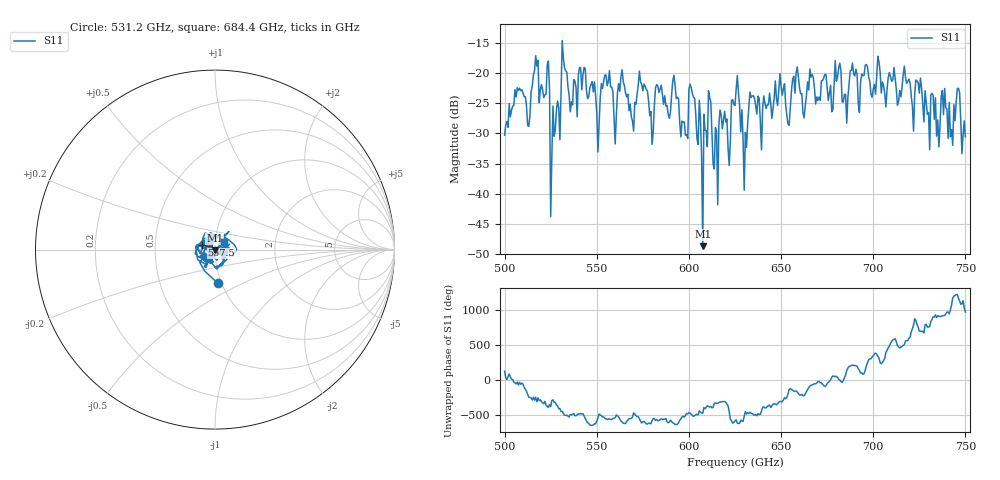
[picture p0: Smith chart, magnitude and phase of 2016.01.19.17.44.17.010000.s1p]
!Created with skrf (http://scikit-rf.org).
# GHz S RI R 50.0
!freq ReS11 ImS11
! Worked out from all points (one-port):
!   401 points, 500 GHz to 750 GHz, reference 50 ohm
!   lowest |S11| = -48.7 dB at 607.5 GHz (marker M1), VSWR 1.01, Z = 49.9 - j0.337 ohm
!   |S11| at or under -10 dB: start of sweep to end of sweep
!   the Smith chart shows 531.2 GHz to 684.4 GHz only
!   S11 on the Smith chart (normalised r, x): 531.2 GHz: 0.96, -0.37; 557.5 GHz: 0.86, +0.05; 684.4 GHz: 1.11, +0.09
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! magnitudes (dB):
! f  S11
! 500 GHz  -30.3
! 506.9 GHz  -22.4
! 513.1 GHz  -28.8
! 516.9 GHz  -17.1
! 523.1 GHz  -18.6
! 526.2 GHz  -25.5
! 531.2 GHz  -14.6
! 550.6 GHz  -33.1
! 557.5 GHz  -22.3
! 562.5 GHz  -23.0
! 568.8 GHz  -27.2
! 593.8 GHz  -24.0
! 598.1 GHz  -30.3
! 601.9 GHz  -23.4
! 607.5 GHz  -48.7
! 610.6 GHz  -22.9
! 614.4 GHz  -29.0
! 618.1 GHz  -29.2
! 621.2 GHz  -32.6
! 625 GHz  -25.4
! 630.6 GHz  -29.9
! 634.4 GHz  -23.8
! 656.2 GHz  -21.0
! 680.6 GHz  -20.6
! 684.4 GHz  -23.5
! 687.5 GHz  -19.7
! 718.8 GHz  -21.3
! 750 GHz  -30.6
